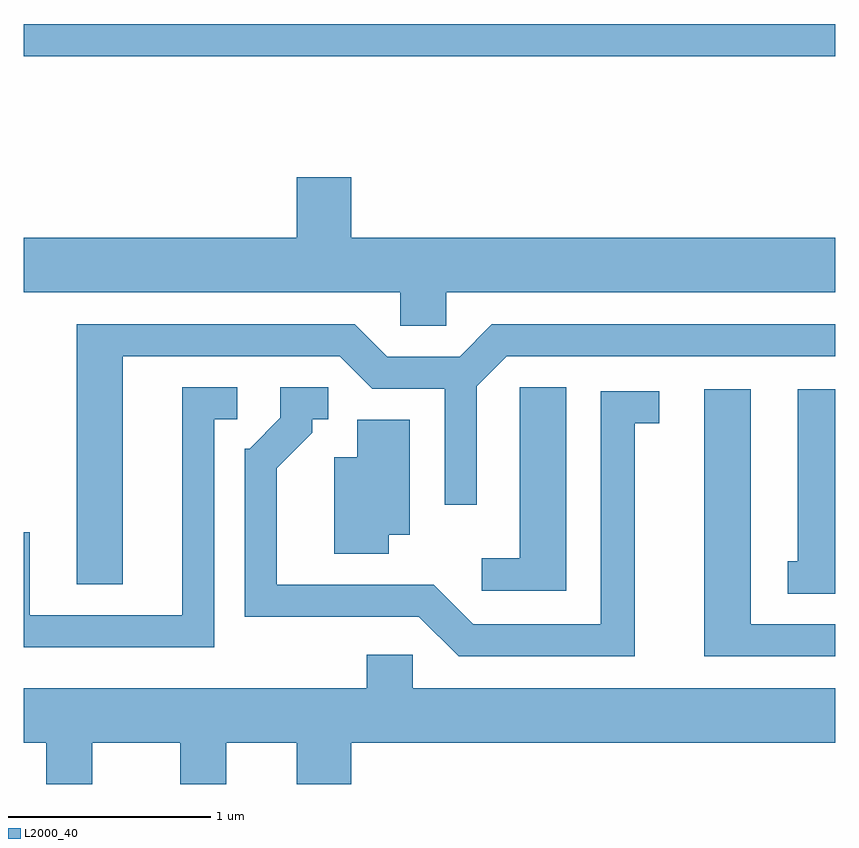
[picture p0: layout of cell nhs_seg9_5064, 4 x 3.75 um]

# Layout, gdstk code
import gdstk
lib = gdstk.Library(unit=1e-6, precision=1e-09)
def R(c, l, rs):  # rectangles x0, y0, x1, y1
    for r in rs: c.add(gdstk.rectangle(r[:2], r[2:], *l))
def P(c, l, *ps):  # polygons
    for p in ps: c.add(gdstk.Polygon(p, *l))
L2000_40 = (2000, 40)

nhs_seg9_5064 = lib.new_cell('nhs_seg9_5064')
R(nhs_seg9_5064, L2000_40, [(333.611,2064.021,337.611,2064.179)])
P(nhs_seg9_5064, L2000_40, [(335.694,2062.856),(337.611,2062.856),(337.611,2063.124),(335.224,2063.124),(335.224,2063.424),(334.956,2063.424),(334.956,2063.124),(333.611,2063.124),(333.611,2062.856),(335.466,2062.856),(335.466,2062.691),(335.694,2062.691)],
  [(334.099,2062.541),(335.169,2062.541),(335.329,2062.381),(335.686,2062.381),(335.686,2061.808),(335.844,2061.808),(335.844,2062.394),(335.992,2062.541),(337.611,2062.541),(337.611,2062.699),(335.919,2062.699),(335.759,2062.539),(335.402,2062.539),(335.242,2062.699),(333.871,2062.699),(333.871,2061.416),(334.099,2061.416)],
  [(334.549,2062.231),(334.663,2062.231),(334.663,2062.389),(334.391,2062.389),(334.391,2061.264),(333.639,2061.264),(333.639,2061.674),(333.611,2061.674),(333.611,2061.106),(334.549,2061.106)],
  [(336.284,2062.389),(336.056,2062.389),(336.056,2061.544),(335.868,2061.544),(335.868,2061.386),(336.284,2061.386)],
  [(336.624,2062.211),(336.743,2062.211),(336.743,2062.369),(336.456,2062.369),(336.456,2061.219),(335.827,2061.219),(335.632,2061.414),(334.859,2061.414),(334.859,2061.989),(335.034,2062.164),(335.034,2062.231),(335.113,2062.231),(335.113,2062.389),(334.876,2062.389),(334.876,2062.237),(334.724,2062.084),(334.701,2062.084),(334.701,2061.256),(335.559,2061.256),(335.754,2061.061),(336.624,2061.061)],
  [(337.611,2062.379),(337.426,2062.379),(337.426,2061.529),(337.378,2061.529),(337.378,2061.371),(337.611,2061.371)],
  [(337.611,2061.219),(337.194,2061.219),(337.194,2062.379),(336.966,2062.379),(336.966,2061.061),(337.611,2061.061)],
  [(335.409,2061.661),(335.514,2061.661),(335.514,2062.229),(335.256,2062.229),(335.256,2062.044),(335.141,2062.044),(335.141,2061.566),(335.409,2061.566)],
  [(333.949,2060.636),(334.381,2060.636),(334.381,2060.432),(334.609,2060.432),(334.609,2060.636),(334.956,2060.636),(334.956,2060.432),(335.224,2060.432),(335.224,2060.636),(337.611,2060.636),(337.611,2060.904),(335.529,2060.904),(335.529,2061.069),(335.301,2061.069),(335.301,2060.904),(333.611,2060.904),(333.611,2060.636),(333.721,2060.636),(333.721,2060.432),(333.949,2060.432)])

lib.write_gds('nhs_seg9_5064.gds')
